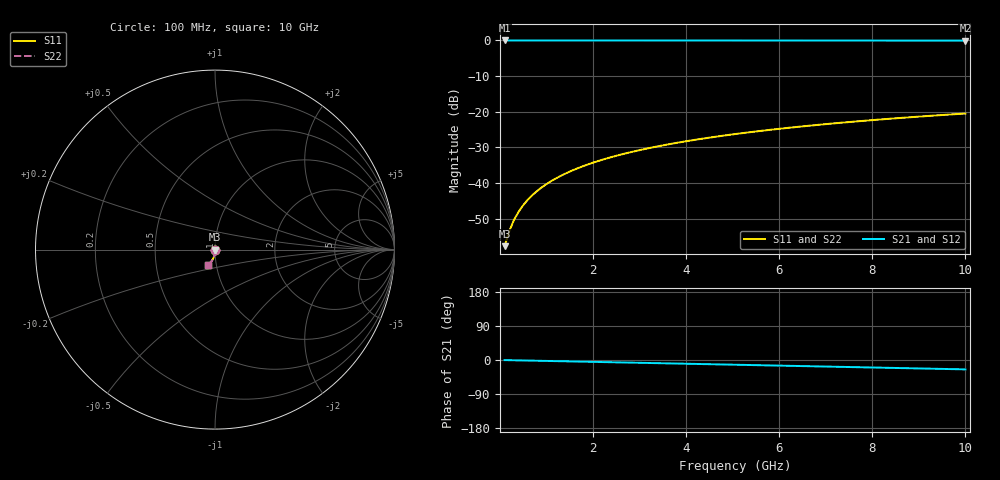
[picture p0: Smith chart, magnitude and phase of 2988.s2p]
# Hz S RI R 50.00
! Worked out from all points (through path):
!   100 points, 100 MHz to 10 GHz, reference 50 ohm
!   highest |S21| = -0.01 dB at 100 MHz (marker M1); lowest = -0.1 dB at 10 GHz (marker M2)
!   group delay of S21, straight-line fit = 6.88 ps
!   lowest |S11| = -57.7 dB at 100 MHz (marker M3), VSWR 1.00, Z = 50.1 - j0.0973 ohm
!   |S11| at or under -10 dB: start of sweep to end of sweep
!   |S22| runs from -57.7 to -20.5 dB; largest |S21 - S12| = 0
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1e8  0.00088 -0.000971  0.9991 -0.00429  0.9991 -0.00429  0.00088 -0.000971
2e8  0.000871 -0.00194  0.9991 -0.00859  0.9991 -0.00859  0.000871 -0.00194
3e8  0.000852 -0.00291  0.999 -0.0129  0.999 -0.0129  0.000852 -0.00291
4e8  0.000824 -0.00388  0.9989 -0.0172  0.9989 -0.0172  0.000824 -0.00388
5e8  0.000787 -0.00485  0.9988 -0.0215  0.9988 -0.0215  0.000787 -0.00485
6e8  0.000741 -0.00582  0.9987 -0.0258  0.9987 -0.0258  0.000741 -0.00582
7e8  0.000687 -0.00679  0.9986 -0.0301  0.9986 -0.0301  0.000687 -0.00679
8e8  0.000624 -0.00776  0.9984 -0.0343  0.9984 -0.0343  0.000624 -0.00776
9e8  0.000553 -0.00873  0.9983 -0.0386  0.9983 -0.0386  0.000553 -0.00873
1.1e9  0.000385 -0.0107  0.9979 -0.0472  0.9979 -0.0472  0.000385 -0.0107
1.4e9  7.07e-05 -0.0136  0.9971 -0.0601  0.9971 -0.0601  7.07e-05 -0.0136
1.8e9  -0.000466 -0.0174  0.9959 -0.0772  0.9959 -0.0772  -0.000466 -0.0174
2.1e9  -0.000956 -0.0203  0.9947 -0.0901  0.9947 -0.0901  -0.000956 -0.0203
2.5e9  -0.00173 -0.0241  0.9929 -0.1072  0.9929 -0.1072  -0.00173 -0.0241
2.9e9  -0.00263 -0.0279  0.9908 -0.1243  0.9908 -0.1243  -0.00263 -0.0279
3.4e9  -0.00394 -0.0326  0.9877 -0.1456  0.9877 -0.1456  -0.00394 -0.0326
4.2e9  -0.00646 -0.0401  0.9818 -0.1795  0.9818 -0.1795  -0.00646 -0.0401
5.1e9  -0.0099 -0.0482  0.9737 -0.2175  0.9737 -0.2175  -0.0099 -0.0482
5.9e9  -0.0135 -0.0552  0.9652 -0.2509  0.9652 -0.2509  -0.0135 -0.0552
6.7e9  -0.0176 -0.0619  0.9554 -0.2841  0.9554 -0.2841  -0.0176 -0.0619
8.4e9  -0.0277 -0.0752  0.9308 -0.3532  0.9308 -0.3532  -0.0277 -0.0752
1e10  -0.0389 -0.0862  0.9028 -0.4164  0.9028 -0.4164  -0.0389 -0.0862
